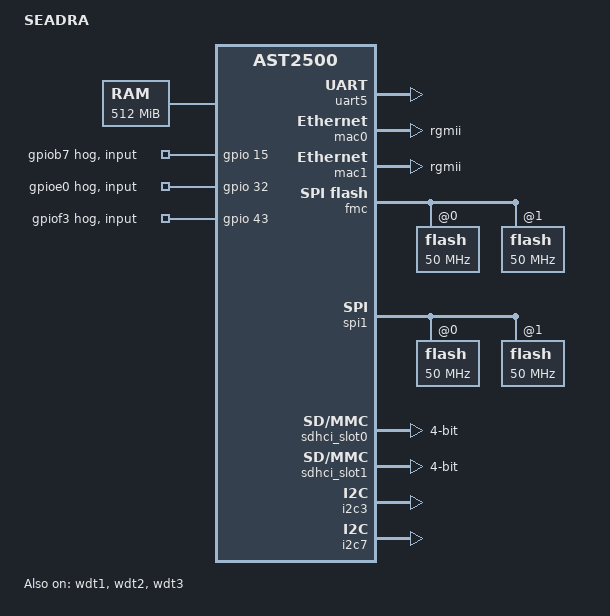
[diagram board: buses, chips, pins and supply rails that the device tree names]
/dts-v1/;

#include "ast2500-u-boot.dtsi"

/ {
	model = "SEADRA";
	compatible = "aspeed,ast2500-evb", "aspeed,ast2500";

	memory {
		device_type = "memory";
		reg = <0x80000000 0x20000000>;
	};

	chosen {
		stdout-path = &uart5;
	};

	aliases {
		spi0 = &fmc;
		spi1 = &spi1;
		ethernet0 = &mac0;
		ethernet1 = &mac1;
	};
};

&uart5 {
	u-boot,dm-pre-reloc;
	status = "okay";
};

&sdrammc {
	clock-frequency = <400000000>;
};

&wdt1 {
	u-boot,dm-pre-reloc;
	status = "okay";
};

&wdt2 {
	u-boot,dm-pre-reloc;
	status = "okay";
};

&wdt3 {
	u-boot,dm-pre-reloc;
	status = "okay";
};

&mac0 {
	status = "okay";
	phy-mode = "rgmii";

	pinctrl-names = "default";
	pinctrl-0 = <&pinctrl_mac1link_default &pinctrl_mdio1_default>;
};

&mac1 {
	status = "okay";
	phy-mode = "rgmii";
	pinctrl-names = "default";
	pinctrl-0 = <&pinctrl_mac2link_default &pinctrl_mdio2_default>;
};

&fmc {
	status = "okay";
	flash@0 {
		status = "okay";
		spi-max-frequency = <50000000>;
		spi-tx-bus-width = <2>;
		spi-rx-bus-width = <2>;
	};

	flash@1 {
                status = "okay";
                spi-max-frequency = <50000000>;
                spi-tx-bus-width = <2>;
                spi-rx-bus-width = <2>;
        };
};

&spi1 {
	status = "okay";
	flash@0 {
		pinctrl-names = "default";
		pinctrl-0 = <&pinctrl_spi1_default &pinctrl_espi_default>;
		status = "okay";
		spi-max-frequency = <50000000>;
		spi-tx-bus-width = <2>;
		spi-rx-bus-width = <2>;
	};
	flash@1 {
		pinctrl-names = "default";
		pinctrl-0 = <&pinctrl_spi1_default &pinctrl_spi1cs1_default &pinctrl_espi_default>;
		status = "okay";
		spi-max-frequency = <50000000>;
		spi-tx-bus-width = <2>;
		spi-rx-bus-width = <2>;
	};
};

&sdhci_slot0 {
	status = "okay";
	bus-width = <4>;
	pinctrl-names = "default";
	pinctrl-0 = <&pinctrl_sd1_default>;
};

&sdhci_slot1 {
	status = "okay";
	bus-width = <4>;
	pinctrl-names = "default";
	pinctrl-0 = <&pinctrl_sd2_default>;
};

&lpc_reset {
    	status = "disabled";
};

&i2c3 {
        status = "okay";

};

&i2c7 {
        status = "okay";

};

&gpio {

	status = "okay";

	gpiob7 {
		gpio-hog;
		gpios = <15 0>;
		input;
	};

	gpioe0 {
		gpio-hog;
		gpios = <32 0>;
		input;
	};

	gpiof3 {
		gpio-hog;
		gpios = <43 0>;
		input;
	};
};
